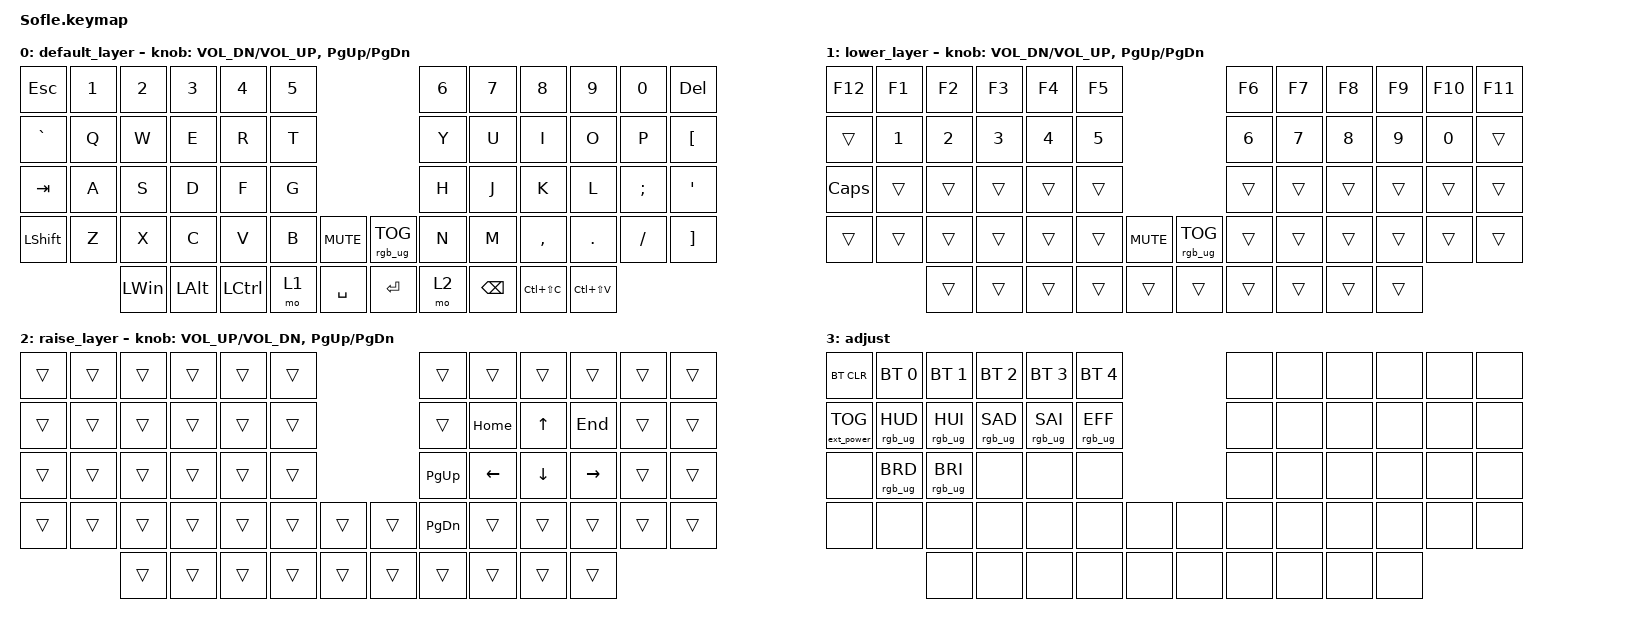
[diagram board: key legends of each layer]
/*
 * Copyright (c) 2020 The ZMK Contributors
 *
 * SPDX-License-Identifier: MIT
 */

#include <behaviors.dtsi>
#include <dt-bindings/zmk/keys.h>
#include <dt-bindings/zmk/bt.h>
#include <dt-bindings/zmk/rgb.h>
#include <dt-bindings/zmk/ext_power.h>

#define BASE 0
#define LOWER 1
#define RAISE 2
#define ADJUST 3


/ {
combos {
        compatible = "zmk,combos";

        br_fig_l {
            bindings = <&kp LEFT_BRACE>;
            key-positions = <16 17>;
        };

        br_fig_r {
            bindings = <&kp RIGHT_BRACE>;
            key-positions = <18 19>;
        };

        br_sq_l {
            bindings = <&kp LEFT_BRACKET>;
            key-positions = <28 29>;
        };

        br_sq_r {
            bindings = <&kp RIGHT_BRACKET>;
            key-positions = <30 31>;
        };

        br_ro_l {
            bindings = <&kp LEFT_PARENTHESIS>;
            key-positions = <40 41>;
        };

        br_ro_r {
            bindings = <&kp RIGHT_PARENTHESIS>;
            key-positions = <44 45>;
        };

        und {
            bindings = <&kp UNDERSCORE>;
            key-positions = <15 16>;
        };

        eq {
            bindings = <&kp EQUAL>;
            key-positions = <19 20>;
        };

        min {
            bindings = <&kp MINUS>;
            key-positions = <27 28>;
        };

        pl {
            bindings = <&kp PLUS>;
            key-positions = <31 32>;
        };

        rev_back {
            bindings = <&kp BSLH>;
            key-positions = <39 40>;
        };

        pi {
            bindings = <&kp PIPE>;
            key-positions = <45 46>;
        };

        cps {
            bindings = <&kp CAPS>;
            key-positions = <24 25>;
        };
    };

// Activate ADJUST layer by pressing raise and lower
    conditional_layers {
        compatible = "zmk,conditional-layers";
        adjust_layer {
            if-layers = <LOWER RAISE>;
            then-layer = <ADJUST>;
        };
    };

    keymap {
        compatible = "zmk,keymap";

        default_layer {
// ------------------------------------------------------------------------------------------------------------
// |   `   |  1  |  2  |  3   |  4   |  5   |                   |  6   |  7    |  8    |  9   |   0   |       |
// |  ESC  |  Q  |  W  |  E   |  R   |  T   |                   |  Y   |  U    |  I    |  O   |   P   | BKSPC |
// |  TAB  |  A  |  S  |  D   |  F   |  G   |                   |  H   |  J    |  K    |  L   |   ;   |   '   |
// | SHIFT |  Z  |  X  |  C   |  V   |  B   |  MUTE  |  |       |  N   |  M    |  ,    |  .   |   /   | SHIFT |
//               | GUI | ALT  | CTRL | LOWER|  ENTER |  | SPACE | RAISE| CTRL  | ALT   | GUI  |
            bindings = <
&kp ESC         &kp N1  &kp N2        &kp N3        &kp N4     &kp N5                                  &kp N6  &kp N7         &kp N8         &kp N9         &kp N0    &kp DELETE
&kp GRAVE       &kp Q   &kp W         &kp E         &kp R      &kp T                                   &kp Y   &kp U          &kp I          &kp O          &kp P     &kp LEFT_BRACKET
&kp TAB         &kp A   &kp S         &kp D         &kp F      &kp G                                   &kp H   &kp J          &kp K          &kp L          &kp SEMI  &kp SQT
&kp LEFT_SHIFT  &kp Z   &kp X         &kp C         &kp V      &kp B   &kp C_MUTE    &rgb_ug RGB_TOG   &kp N   &kp M          &kp COMMA      &kp DOT        &kp FSLH  &kp RIGHT_BRACKET
                        &kp LEFT_WIN  &kp LEFT_ALT  &kp LCTRL  &mo 1   &kp SPACE     &kp ENTER         &mo 2   &kp BACKSPACE  &kp LC(LS(C))  &kp LC(LS(V))
            >;

            sensor-bindings = <&inc_dec_kp C_VOL_DN C_VOL_UP &inc_dec_kp PG_UP PG_DN>;
        };

        lower_layer {
// TODO: Some binds are waiting for shifted keycode support.
// ------------------------------------------------------------------------------------------------------------
// |       |  F1 |  F2 |  F3  |  F4  |  F5  |                   |  F6  |  F7   |  F8   |  F9  |  F10  |  F11  |
// |   `   |  1  |  2  |  3   |  4   |  5   |                   |  6   |  7    |  8    |  9   |   0   |  F12  |
// |       |  !  |  @  |  #   |  $   |  %   |                   |  ^   |  &    |  *    |  (   |   )   |   |   |
// |       |  =  |  -  |  +   |  {   |  }   |        |  |       |  [   |  ]    |  ;    |  :   |   \   |       |
//               |     |      |      |      |        |  |       |      |       |       |      |
            bindings = <
&kp F12   &kp F1        &kp F2        &kp F3        &kp F4        &kp F5                                        &kp F6        &kp F7  &kp F8  &kp F9  &kp F10       &kp F11
&trans    &kp NUMBER_1  &kp NUMBER_2  &kp NUMBER_3  &kp NUMBER_4  &kp NUMBER_5                                  &kp NUMBER_6  &kp N7  &kp N8  &kp N9  &kp NUMBER_0  &trans
&kp CLCK  &trans        &trans        &trans        &trans        &trans                                        &trans        &trans  &trans  &trans  &trans        &trans
&trans    &trans        &trans        &trans        &trans        &trans        &kp C_MUTE    &rgb_ug RGB_TOG   &trans        &trans  &trans  &trans  &trans        &trans
                        &trans        &trans        &trans        &trans        &trans        &trans            &trans        &trans  &trans  &trans
            >;

            sensor-bindings = <&inc_dec_kp C_VOL_DN C_VOL_UP &inc_dec_kp PG_UP PG_DN>;
        };

        raise_layer {
// ------------------------------------------------------------------------------------------------------------
// | BTCLR | BT1  | BT2  |  BT3  |  BT4  |  BT5 |                |      |      |       |      |       |       |
// |       | INS  | PSCR | GUI   |       |      |                | PGUP |      |   ^   |      |       |       |
// |       | ALT  | CTRL | SHIFT |       | CAPS |                | PGDN |   <- |   v   |  ->  |  DEL  | BKSPC |
// |       | UNDO | CUT  | COPY  | PASTE |      |      |  |      |      |      |       |      |       |       |
//                |      |       |       |      |      |  |      |      |      |       |      |
            bindings = <
&trans  &trans &trans &trans &trans &trans                    &trans    &trans    &trans   &trans    &trans  &trans
&trans  &trans &trans &trans &trans &trans                    &trans    &kp HOME  &kp UP   &kp END   &trans  &trans
&trans  &trans &trans &trans &trans &trans                    &kp PG_UP &kp LEFT  &kp DOWN &kp RIGHT &trans  &trans
&trans  &trans &trans &trans &trans &trans &trans     &trans  &kp PG_DN &trans    &trans   &trans    &trans  &trans
               &trans &trans &trans &trans &trans     &trans  &trans    &trans    &trans   &trans
            >;

            sensor-bindings = <&inc_dec_kp C_VOL_UP C_VOL_DN &inc_dec_kp PG_UP PG_DN>;
        };

        adjust_layer {
// ----------------------------------------------------------------------------------------------------------------------------
// | BTCLR  |  BT1    |  BT2    |   BT3   |   BT4   |   BT5   |                  |      |      |       |      |       |       |
// | EXTPWR | RGB_HUD | RGB_HUI | RGB_SAD | RGB_SAI | RGB_EFF |                  |      |      |       |      |       |       |
// |        | RGB_BRD | RGB_BRI |         |         |         |                  |      |      |       |      |       |       |
// |        |         |         |         |         |         | RGB_TOG | |      |      |      |       |      |       |       |
//                    |         |         |         |         |         | |      |      |      |       |      |
            display-name = "adjust";
            bindings = <
&bt BT_CLR        &bt BT_SEL 0    &bt BT_SEL 1    &bt BT_SEL 2    &bt BT_SEL 3    &bt BT_SEL 4                            &none &none &none &none &none &none
&ext_power EP_TOG &rgb_ug RGB_HUD &rgb_ug RGB_HUI &rgb_ug RGB_SAD &rgb_ug RGB_SAI &rgb_ug RGB_EFF                         &none &none &none &none &none &none
&none             &rgb_ug RGB_BRD &rgb_ug RGB_BRI &none           &none           &none                                   &none &none &none &none &none &none
&none             &none           &none           &none           &none           &none            &none &none  &none &none &none &none &none &none
                                  &none           &none           &none           &none            &none           &none  &none &none &none &none
            >;
        };
        extra1 {
            status = "reserved";
        };
        extra2 {
            status = "reserved";
        };
        extra3 {
            status = "reserved";
        };
        extra4 {
            status = "reserved";
        };

    };
};
